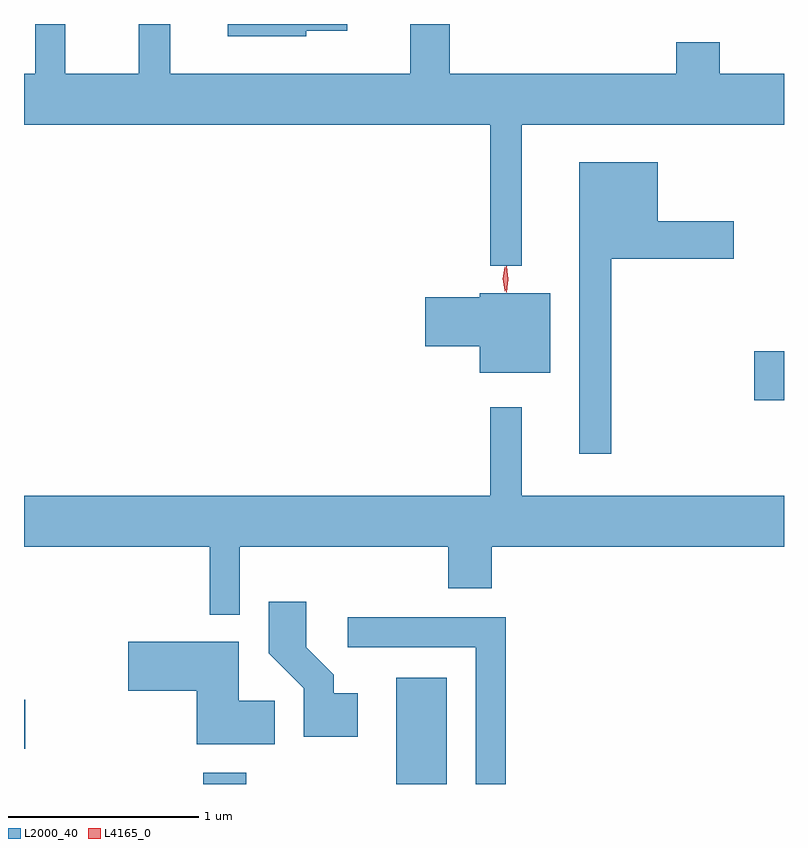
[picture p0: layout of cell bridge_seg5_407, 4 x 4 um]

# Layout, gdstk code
import gdstk
lib = gdstk.Library(unit=1e-6, precision=1e-09)
def R(c, l, rs):  # rectangles x0, y0, x1, y1
    for r in rs: c.add(gdstk.rectangle(r[:2], r[2:], *l))
def P(c, l, *ps):  # polygons
    for p in ps: c.add(gdstk.Polygon(p, *l))
L2000_40 = (2000, 40)
L4165_0 = (4165, 0)

bridge_seg5_407 = lib.new_cell('bridge_seg5_407')
R(bridge_seg5_407, L2000_40, [(238.631,1515.486,238.859,1515.544), (239.646,1515.486,239.914,1516.044), (237.688,1515.671,237.694,1515.929), (241.531,1517.506,241.688,1517.764)])
P(bridge_seg5_407, L2000_40, [(240.141,1518.213),(240.309,1518.213),(240.309,1518.956),(241.688,1518.956),(241.688,1519.224),(241.349,1519.224),(241.349,1519.389),(241.121,1519.389),(241.121,1519.224),(239.929,1519.224),(239.929,1519.486),(239.721,1519.486),(239.721,1519.224),(238.459,1519.224),(238.459,1519.486),(238.291,1519.486),(238.291,1519.224),(237.904,1519.224),(237.904,1519.486),(237.746,1519.486),(237.746,1519.224),(237.688,1519.224),(237.688,1518.956),(240.141,1518.956)],
  [(239.174,1519.451),(239.389,1519.451),(239.389,1519.486),(238.761,1519.486),(238.761,1519.421),(239.174,1519.421)],
  [(240.779,1518.251),(241.424,1518.251),(241.424,1518.449),(241.024,1518.449),(241.024,1518.759),(240.611,1518.759),(240.611,1517.223),(240.779,1517.223)],
  [(240.459,1518.069),(240.086,1518.069),(240.086,1518.049),(239.801,1518.049),(239.801,1517.791),(240.086,1517.791),(240.086,1517.651),(240.459,1517.651)],
  [(238.824,1516.736),(239.921,1516.736),(239.921,1516.516),(240.149,1516.516),(240.149,1516.736),(241.688,1516.736),(241.688,1517.004),(240.309,1517.004),(240.309,1517.468),(240.141,1517.468),(240.141,1517.004),(237.688,1517.004),(237.688,1516.736),(238.666,1516.736),(238.666,1516.378),(238.824,1516.378)],
  [(239.444,1515.964),(239.319,1515.964),(239.319,1516.062),(239.174,1516.207),(239.174,1516.444),(238.976,1516.444),(238.976,1516.174),(239.161,1515.989),(239.161,1515.736),(239.444,1515.736)],
  [(240.224,1516.364),(239.393,1516.364),(239.393,1516.206),(240.066,1516.206),(240.066,1515.486),(240.224,1515.486)],
  [(239.009,1515.924),(238.819,1515.924),(238.819,1516.234),(238.236,1516.234),(238.236,1515.976),(238.596,1515.976),(238.596,1515.696),(239.009,1515.696)])
P(bridge_seg5_407, L4165_0, [(240.227,1518.074),(240.218,1518.142),(240.227,1518.21),(240.227,1518.21),(240.228,1518.21),(240.237,1518.142),(240.228,1518.074),(240.228,1518.074)],
  [(240.219,1518.08),(240.219,1518.081),(240.209,1518.144),(240.219,1518.206),(240.219,1518.207),(240.22,1518.206),(240.229,1518.144),(240.22,1518.081)])

lib.write_gds('bridge_seg5_407.gds')
